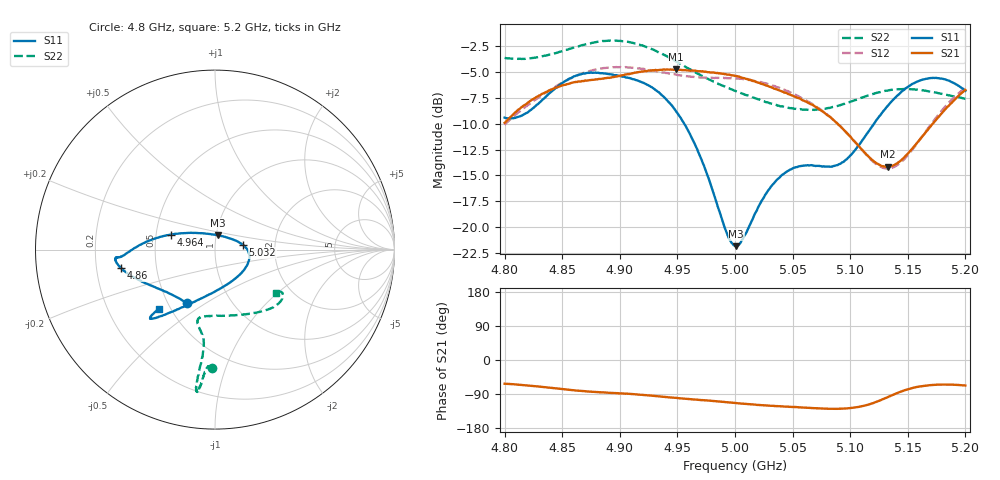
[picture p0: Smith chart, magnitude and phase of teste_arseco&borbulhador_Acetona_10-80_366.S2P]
! Network Analyzer HP8722D
! Hewlett-Packard
! Data name: Linha & Wilkinson
! Saver's name: Rodrigo Anjos
! Comments: Teste da utilização de aquisição
! continua pelo VNA HP8722D
! Time and date: 17/4/2025 17:24
!  Frequency  S11  S21  S12  S22
# HZ  S  MA R 50
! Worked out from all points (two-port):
!   401 points, 4.8 GHz to 5.2 GHz, reference 50 ohm
!   highest |S21| = -4.74 dB at 4.949 GHz (marker M1); lowest = -14.2 dB at 5.133 GHz (marker M2)
!   |S21| within 3 dB of the highest: 4.823 GHz to 5.059 GHz (235.8 MHz wide, 4.77 % of centre); 5.190049 GHz to end of sweep
!   lowest |S11| = -21.8 dB at 5.001 GHz (marker M3), VSWR 1.18, Z = 51 + j8.13 ohm
!   |S11| at or under -10 dB: 4.956 GHz to 5.121 GHz (164.7 MHz wide, 3.27 % of centre)
!   |S22| runs from -8.7 to -1.9 dB; largest |S21 - S12| = 0.87
!   S11 on the Smith chart (normalised r, x): 4.8 GHz: 0.62, -0.42; 4.86 GHz: 0.31, -0.09; 4.964 GHz: 0.60, +0.11; 5.032 GHz: 1.37, +0.07; 5.2 GHz: 0.43, -0.36
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4.8e9  0.3384 -117.5  0.3192 -62.7  0.3127 -176.8  0.6587 -91.6
4.818e9  0.3541 -136.7  0.3911 -66.7  0.382 -176.6  0.6517 -93.3
4.86e9  0.5354 -169.0  0.5011 -79.8  0.5321 179.9  0.7376 -95.7
4.867e9  0.55 -171.7  0.5087 -81.9  0.552 178.7  0.7581 -96.0
4.902e9  0.5343 -175.5  0.5427 -88.2  0.5925 172.1  0.7929 -97.5
4.934e9  0.4488 178.9  0.5748 -96.2  0.5657 169.7  0.6984 -97.6
4.949e9  0.3622 171.7  0.5792 -99.9  0.5466 170.2  0.632 -97.1
4.964e9  0.26 161.2  0.571 -104.1  0.5331 171.5  0.5676 -96.6
4.975e9  0.1851 150.0  0.564 -106.5  0.5279 172.7  0.5258 -96.9
4.993e9  0.0928 110.4  0.5458 -111.4  0.5251 173.9  0.474 -98.9
5e9  0.08144 82.4  0.5382 -113.4  0.5234 173.9  0.4558 -100.3
5.001e9  0.08085 78.2  0.5384 -113.6  0.5233 173.9  0.4543 -100.6
5.032e9  0.1587 9.4  0.4727 -120.8  0.4859 172.6  0.3949 -103.5
5.049e9  0.1905 -6.6  0.4342 -123.9  0.4459 172.0  0.3764 -98.7
5.067e9  0.199 -26.1  0.3908 -126.8  0.3944 171.9  0.3687 -88.0
5.096e9  0.2113 -76.4  0.2887 -127.9  0.2899 174.8  0.3966 -65.6
5.119e9  0.3071 -110.6  0.2113 -114.6  0.2096 -169.8  0.4393 -50.5
5.133e9  0.3885 -121.5  0.1959 -97.3  0.1916 -150.5  0.4585 -43.7
5.134e9  0.394 -122.3  0.1966 -96.0  0.1918 -149.0  0.4597 -43.4
5.146e9  0.4582 -127.6  0.2149 -81.2  0.2107 -131.8  0.4658 -38.9
5.168e9  0.5244 -132.8  0.2987 -67.0  0.3024 -113.2  0.4529 -33.6
5.2e9  0.456 -133.6  0.4608 -67.4  0.4718 -109.4  0.4173 -35.1
